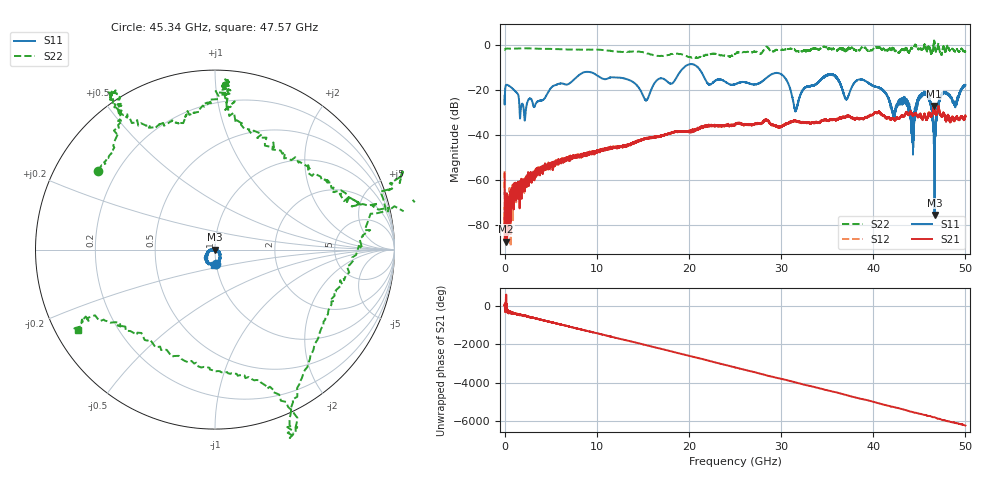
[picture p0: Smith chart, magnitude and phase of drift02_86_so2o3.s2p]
!Created with skrf (http://scikit-rf.org).
# Hz S RI R 50.0
!freq ReS11 ImS11 ReS21 ImS21 ReS12 ImS12 ReS22 ImS22
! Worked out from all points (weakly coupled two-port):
!   10001 points, 300 kHz to 50 GHz, reference 50 ohm
!   highest |S21| = -27.02 dB at 46.62 GHz (marker M1); lowest = -87.6 dB at 175.3 MHz (marker M2)
!   lowest |S11| = -75.7 dB at 46.65 GHz (marker M3), VSWR 1.00, Z = 50 + j0.00962 ohm
!   |S11| at or under -10 dB: start of sweep to 19.43 GHz; 21.00423 GHz to 21.00807 GHz (3.839 MHz wide, 0.0183 % of centre); 21.01 GHz to end of sweep
!   |S22| runs from -5.7 to 2.2 dB; largest |S21 - S12| = 0.0034
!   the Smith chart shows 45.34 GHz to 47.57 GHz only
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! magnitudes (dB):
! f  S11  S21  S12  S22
! 300 kHz  -22.5  -57.3  -56.2  -2.1
! 175.3 MHz  -17.7  -87.6  -74.5  -1.4
! 2.185 GHz  -33.5  -60.3  -61.0  -1.3
! 8.335 GHz  -12.5  -48.9  -48.6  -1.9
! 15.34 GHz  -24.6  -41.6  -41.5  -3.3
! 16.67 GHz  -15.1  -40.9  -40.6  -4.7
! 20.3 GHz  -8.4  -38.2  -38.6  -5.5
! 25 GHz  -17.4  -35.2  -35.2  -3.9
! 29.84 GHz  -12.6  -36.3  -36.5  -2.0
! 31.59 GHz  -28.9  -33.7  -34.1  -2.4
! 33.34 GHz  -18.0  -34.4  -34.5  -1.6
! 35.63 GHz  -13.3  -33.1  -33.2  -1.5
! 37.1 GHz  -24.2  -31.8  -31.8  -2.2
! 38.75 GHz  -15.2  -32.8  -32.6  -1.0
! 41.67 GHz  -23.7  -32.3  -32.1  -2.0
! 43.56 GHz  -26.2  -30.3  -30.1  -1.3
! 44.26 GHz  -43.3  -31.1  -31.0  -1.5
! 45.72 GHz  -21.9  -32.7  -32.7  -1.0
! 46.62 GHz  -44.2  -27.0  -26.9  2.1
! 46.65 GHz  -75.7  -27.5  -28.0  0.8
! 47.47 GHz  -21.8  -31.8  -31.5  -3.3
! 50 GHz  -17.6  -31.6  -31.2  -2.7
